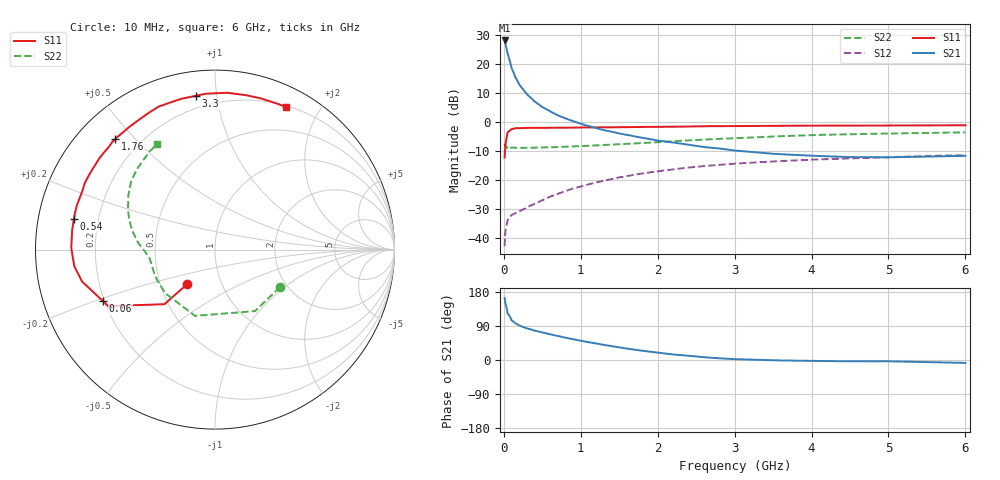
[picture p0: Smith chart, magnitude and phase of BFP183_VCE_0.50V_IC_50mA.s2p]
! (c) 2016  Infineon Technologies AG, Munich
! Infineon Technologies  Discrete & RF Semiconductors
! BFP183
! VCE = 0.50V,  IC =  50 mA
! Common Emitter S-Parameters:  Jan 2016
# GHz  S  MA  R  50
!  f  S11  S21  S12  S22
! GHz  MAG  ANG  MAG  ANG  MAG  ANG  MAG  ANG
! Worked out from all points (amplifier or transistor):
!   210 points, 10 MHz to 6 GHz, reference 50 ohm
!   highest |S21| = 28.2 dB at 10 MHz (marker M1)
!   |S21| within 3 dB of that: start of sweep to 36.67 MHz
!   unconditionally stable (mu >= 1): start of sweep to 37.09 MHz; 122.5 MHz to end of sweep
!   at 185 MHz: K = 1.28, MAG = 19.2 dB, |S12| = -30.9 dB
!   at 1.52 GHz: K = 2.11, MAG = 1.5 dB, |S12| = -18.9 dB
!   at 6 GHz: K = 1.44, MAG = -4.0 dB, |S12| = -11.4 dB
!   S11 on the Smith chart (normalised r, x): 10 MHz: 0.69, -0.28; 60 MHz: 0.19, -0.21; 540 MHz: 0.11, +0.11; 1.76 GHz: 0.11, +0.44; 3.3 GHz: 0.13, +0.88; 6 GHz: 0.21, +1.60
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0.01  0.2468 -128.8  25.77 163.6  0.0073 59.7  0.4181 -29.9
0.02  0.4146 -132.8  23.21 149.3  0.0131 54.3  0.4089 -56.9
0.05  0.6726 -152.1  15.19 122.4  0.0205 41.0  0.3856 -106.7
0.06  0.6868 -155.3  13.81 120.2  0.0214 39.0  0.373 -112.7
0.1  0.7621 -166.5  8.666 104.7  0.025 32.6  0.3689 -138.8
0.15  0.7894 -173.3  5.957 96.5  0.0271 33.9  0.3646 -152.1
0.2  0.7945 -177.4  4.515 91.1  0.0291 36.9  0.3633 -158.9
0.26  0.8006 178.9  3.512 86.3  0.0318 40.1  0.3621 -163.6
0.3  0.8004 176.8  3.032 83.4  0.0341 42.9  0.3627 -165.8
0.4  0.803 172.4  2.283 77.5  0.0393 47.8  0.365 -169.5
0.5  0.8039 169.1  1.832 72.6  0.0452 50.7  0.366 -171.7
0.54  0.8045 167.7  1.716 70.8  0.0479 51.7  0.3674 -172.4
0.7  0.8082 162.3  1.32 63.2  0.0582 54.6  0.3738 -174.7
1.02  0.8146 152.5  0.926 50.2  0.079 55.0  0.3887 -178.2
1.3  0.8171 144.6  0.733 39.8  0.0985 53.5  0.4053 179.0
1.76  0.8299 132.0  0.552 25.5  0.1284 48.7  0.4375 173.6
2.02  0.8335 125.3  0.479 19.0  0.144 45.3  0.4545 170.2
3.1  0.8609 100.7  0.318 1.7  0.1967 30.4  0.54 153.7
3.3  0.8636 97.0  0.302 0.5  0.204 27.7  0.5542 150.7
4.1  0.8758 84.0  0.262 -2.8  0.2291 17.9  0.606 139.5
5.1  0.8805 71.9  0.25 -3.8  0.2517 7.9  0.6437 127.2
6  0.8876 63.5  0.264 -7.7  0.2705 -1.5  0.6698 118.6
